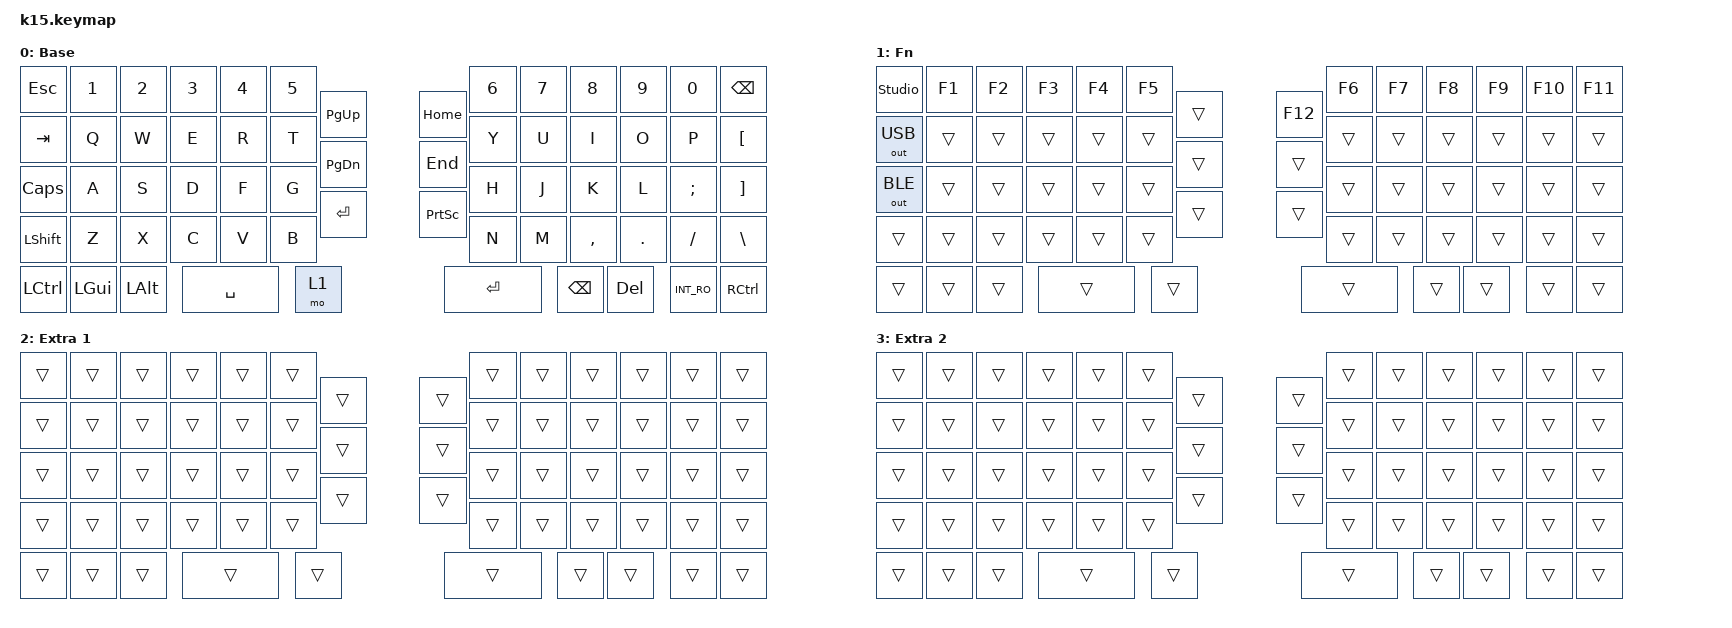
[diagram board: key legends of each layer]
#include <behaviors.dtsi>
#include <dt-bindings/zmk/keys.h>
#include <dt-bindings/zmk/outputs.h>
/ {
    keymap {
        compatible = "zmk,keymap";
        base {
            display-name = "Base";
            bindings = <
                &kp ESC &kp N1 &kp N2 &kp N3 &kp N4 &kp N5 &kp PG_UP &kp TAB &kp Q &kp W &kp E &kp R &kp T &kp PG_DN &kp CAPS &kp A &kp S &kp D &kp F &kp G &kp ENTER &kp LSHFT &kp Z &kp X &kp C &kp V &kp B &kp LCTRL &kp LGUI &kp LALT &kp SPACE &mo 1
                &kp N6 &kp N7 &kp N8 &kp N9 &kp N0 &kp BSPC &kp HOME &kp Y &kp U &kp I &kp O &kp P &kp LBKT &kp END &kp H &kp J &kp K &kp L &kp SEMI &kp RBKT &kp PSCRN &kp N &kp M &kp COMMA &kp DOT &kp FSLH &kp BSLH &kp ENTER &kp BSPC &kp DEL &kp INT_RO &kp RCTRL
            >;
        };
        // Provisional: hold left Layer for F1..F12; other keys unchanged.
        function {
            display-name = "Fn";
            bindings = <
                &studio_unlock &kp F1 &kp F2 &kp F3 &kp F4 &kp F5 &trans &out OUT_USB &trans &trans &trans &trans &trans &trans &out OUT_BLE &trans &trans &trans &trans &trans &trans &trans &trans &trans &trans &trans &trans &trans &trans &trans &trans &trans
                &kp F6 &kp F7 &kp F8 &kp F9 &kp F10 &kp F11 &kp F12 &trans &trans &trans &trans &trans &trans &trans &trans &trans &trans &trans &trans &trans &trans &trans &trans &trans &trans &trans &trans &trans &trans &trans &trans &trans
            >;
        };
        extra2 {
            display-name = "Extra 1";
            bindings = <
                &trans &trans &trans &trans &trans &trans &trans &trans &trans &trans &trans &trans &trans &trans &trans &trans &trans &trans &trans &trans &trans &trans &trans &trans &trans &trans &trans &trans &trans &trans &trans &trans
                &trans &trans &trans &trans &trans &trans &trans &trans &trans &trans &trans &trans &trans &trans &trans &trans &trans &trans &trans &trans &trans &trans &trans &trans &trans &trans &trans &trans &trans &trans &trans &trans
            >;
        };
        extra3 {
            display-name = "Extra 2";
            bindings = <
                &trans &trans &trans &trans &trans &trans &trans &trans &trans &trans &trans &trans &trans &trans &trans &trans &trans &trans &trans &trans &trans &trans &trans &trans &trans &trans &trans &trans &trans &trans &trans &trans
                &trans &trans &trans &trans &trans &trans &trans &trans &trans &trans &trans &trans &trans &trans &trans &trans &trans &trans &trans &trans &trans &trans &trans &trans &trans &trans &trans &trans &trans &trans &trans &trans
            >;
        };
    };
};

